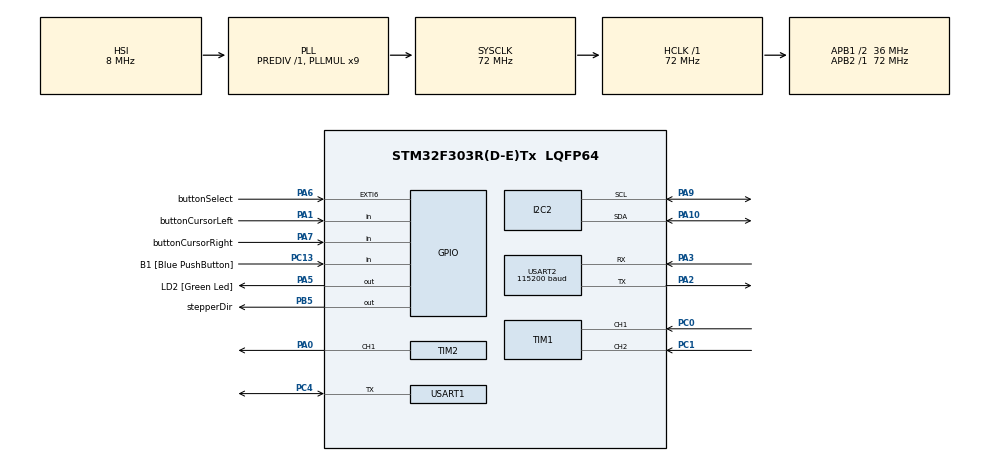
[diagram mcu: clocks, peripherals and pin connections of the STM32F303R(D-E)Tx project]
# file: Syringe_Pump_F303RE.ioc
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Dma.Request0=USART1_RX
Dma.Request1=USART1_TX
Dma.Request2=USART2_TX
Dma.USART1_RX.0.Direction=DMA_PERIPH_TO_MEMORY
Dma.USART1_RX.0.Instance=DMA1_Channel5
Dma.USART1_RX.0.MemDataAlignment=DMA_MDATAALIGN_BYTE
Dma.USART1_RX.0.MemInc=DMA_MINC_ENABLE
Dma.USART1_RX.0.Mode=DMA_NORMAL
Dma.USART1_RX.0.PeriphDataAlignment=DMA_PDATAALIGN_BYTE
Dma.USART1_RX.0.PeriphInc=DMA_PINC_DISABLE
Dma.USART1_RX.0.Priority=DMA_PRIORITY_HIGH
Dma.USART1_TX.1.Direction=DMA_MEMORY_TO_PERIPH
Dma.USART1_TX.1.Instance=DMA1_Channel4
Dma.USART1_TX.1.MemDataAlignment=DMA_MDATAALIGN_BYTE
Dma.USART1_TX.1.MemInc=DMA_MINC_ENABLE
Dma.USART1_TX.1.Mode=DMA_NORMAL
Dma.USART1_TX.1.PeriphDataAlignment=DMA_PDATAALIGN_BYTE
Dma.USART1_TX.1.PeriphInc=DMA_PINC_DISABLE
Dma.USART1_TX.1.Priority=DMA_PRIORITY_HIGH
Dma.USART2_TX.2.Direction=DMA_MEMORY_TO_PERIPH
Dma.USART2_TX.2.Instance=DMA1_Channel7
Dma.USART2_TX.2.MemDataAlignment=DMA_MDATAALIGN_BYTE
Dma.USART2_TX.2.MemInc=DMA_MINC_ENABLE
Dma.USART2_TX.2.Mode=DMA_NORMAL
Dma.USART2_TX.2.PeriphDataAlignment=DMA_PDATAALIGN_BYTE
Dma.USART2_TX.2.PeriphInc=DMA_PINC_DISABLE
Dma.USART2_TX.2.Priority=DMA_PRIORITY_LOW
I2C2.Timing=0x00201D2B
Mcu.Family=STM32F3
Mcu.Name=STM32F303R(D-E)Tx
Mcu.Package=LQFP64
NVIC.DMA1_Channel4_IRQn=true\:5\:0\:true\:false\:true\:false\:true\:true
NVIC.DMA1_Channel5_IRQn=true\:5\:0\:true\:false\:true\:false\:true\:true
NVIC.DMA1_Channel7_IRQn=true\:5\:0\:true\:false\:true\:false\:true\:true
NVIC.EXTI9_5_IRQn=true\:5\:0\:true\:false\:true\:true\:true\:true
NVIC.I2C2_ER_IRQn=true\:5\:0\:true\:false\:true\:true\:true\:true
NVIC.I2C2_EV_IRQn=true\:5\:0\:true\:false\:true\:true\:true\:true
NVIC.PriorityGroup=NVIC_PRIORITYGROUP_4
NVIC.TIM1_UP_TIM16_IRQn=true\:5\:0\:true\:false\:true\:true\:true\:true
NVIC.TIM2_IRQn=true\:1\:0\:true\:false\:true\:true\:true\:true
NVIC.TIM6_DAC_IRQn=true\:15\:0\:false\:false\:true\:false\:true\:true
NVIC.TimeBase=TIM6_DAC_IRQn
NVIC.TimeBaseIP=TIM6
NVIC.USART1_IRQn=true\:5\:0\:true\:false\:true\:true\:true\:true
NVIC.USART2_IRQn=true\:5\:0\:true\:false\:true\:true\:true\:true
PA0.GPIO_PuPd=GPIO_PULLDOWN
PA0.Signal=S_TIM2_CH1_ETR
PA1.GPIO_Label=buttonCursorLeft
PA1.Signal=GPIO_Input
PA10.Mode=I2C
PA10.Signal=I2C2_SDA
PA13.GPIO_Label=TMS
PA13.Mode=Serial_Wire
PA13.Signal=SYS_JTMS-SWDIO
PA14.GPIO_Label=TCK
PA14.Mode=Serial_Wire
PA14.Signal=SYS_JTCK-SWCLK
PA2.GPIO_Mode=GPIO_MODE_AF_PP
PA2.GPIO_ModeDefaultOD=GPIO_MODE_AF_OD
PA2.GPIO_ModeDefaultPP=GPIO_MODE_AF_PP
PA2.GPIO_PuPd=GPIO_NOPULL
PA2.GPIO_Speed=GPIO_SPEED_FREQ_HIGH
PA2.Mode=Asynchronous
PA2.Signal=USART2_TX
PA3.GPIO_Mode=GPIO_MODE_AF_PP
PA3.GPIO_ModeDefaultPP=GPIO_MODE_AF_PP
PA3.GPIO_PuPd=GPIO_NOPULL
PA3.GPIO_Speed=GPIO_SPEED_FREQ_HIGH
PA3.Mode=Asynchronous
PA3.Signal=USART2_RX
PA5.GPIO_Label=LD2 [Green Led]
PA5.GPIO_Mode=GPIO_MODE_OUTPUT_PP
PA5.GPIO_PuPd=GPIO_NOPULL
PA5.GPIO_Speed=GPIO_SPEED_FREQ_LOW
PA5.Signal=GPIO_Output
PA6.GPIO_Label=buttonSelect
PA6.GPIO_ModeDefaultEXTI=GPIO_MODE_IT_FALLING
PA6.Signal=GPXTI6
PA7.GPIO_Label=buttonCursorRight
PA7.Signal=GPIO_Input
PA9.Mode=I2C
PA9.Signal=I2C2_SCL
PB3.GPIO_Label=SWO
PB3.Signal=SYS_JTDO-TRACESWO
PB5.GPIO_Label=stepperDir
PB5.GPIO_PuPd=GPIO_PULLDOWN
PB5.Signal=GPIO_Output
PC0.Signal=S_TIM1_CH1
PC1.Signal=S_TIM1_CH2
PC13.GPIO_Label=B1 [Blue PushButton]
PC13.Signal=GPIO_Input
PC14-OSC32_IN.Mode=LSE-External-Oscillator
PC14-OSC32_IN.Signal=RCC_OSC32_IN
PC15-OSC32_OUT.Mode=LSE-External-Oscillator
PC15-OSC32_OUT.Signal=RCC_OSC32_OUT
PC4.GPIO_PuPd=GPIO_PULLUP
PC4.GPIO_Speed=GPIO_SPEED_FREQ_HIGH
PC4.Mode=Half_duplex(single_wire_mode)
PC4.Signal=USART1_TX
PF0-OSC_IN.Mode=HSE-External-Clock-Source
PF0-OSC_IN.Signal=RCC_OSC_IN
PF1-OSC_OUT.Signal=RCC_OSC_OUT
ProjectManager.HeapSize=0x200
ProjectManager.StackSize=0x400
ProjectManager.TargetToolchain=CMake
RCC.AHBFreq_Value=72000000
RCC.APB1CLKDivider=RCC_HCLK_DIV2
RCC.APB1Freq_Value=36000000
RCC.APB1TimFreq_Value=72000000
RCC.APB2Freq_Value=72000000
RCC.APB2TimFreq_Value=72000000
RCC.CortexFreq_Value=72000000
RCC.HCLKFreq_Value=72000000
RCC.HSE_VALUE=8000000
RCC.HSI_VALUE=8000000
RCC.PLLM=8
RCC.PLLMUL=RCC_PLL_MUL9
RCC.PLLN=336
RCC.PLLP=RCC_PLLP_DIV4
RCC.PLLQ=7
RCC.RCC_PLLsource_Clock_Source_FROM_HSE=RCC_HSE_PREDIV_DIV2
RCC.SYSCLKFreq_VALUE=72000000
RCC.SYSCLKSourceVirtual=RCC_SYSCLKSOURCE_PLLCLK
RCC.USBFreq_Value=72000000
SH.S_TIM1_CH1.0=TIM1_CH1,Encoder_Interface
SH.S_TIM1_CH2.0=TIM1_CH2,Encoder_Interface
SH.S_TIM2_CH1_ETR.0=TIM2_CH1,PWM Generation1 CH1
TIM1.EncoderMode=TIM_ENCODERMODE_TI12
TIM1.IC1Filter=10
TIM2.Channel-PWM\ Generation1\ CH1=TIM_CHANNEL_1
USART1.BaudRate=38400
USART1.VirtualMode-Half_duplex(single_wire_mode)=VM_ASYNC
USART2.BaudRate=115200
USART2.VirtualMode-Asynchronous=VM_ASYNC
VP_SYS_VS_tim6.Mode=TIM6
VP_TIM2_VS_ClockSourceINT.Mode=Internal
board=NUCLEO-F303RE

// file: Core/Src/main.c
/* USER CODE BEGIN Header */
/**
 ******************************************************************************
 * @file           : main.c
 * @brief          : Main program body
 ******************************************************************************
 * @attention
 *
 * Copyright (c) 2026 STMicroelectronics.
 * All rights reserved.
 *
 * This software is licensed under terms that can be found in the LICENSE file
 * in the root directory of this software component.
 * If no LICENSE file comes with this software, it is provided AS-IS.
 *
 ******************************************************************************
 */
/* USER CODE END Header */
#include "main.h"
#include "dma.h"
#include "i2c.h"
#include "tim.h"
#include "usart.h"
#include "gpio.h"

/* USER CODE BEGIN Includes */
#include "FreeRTOS.h"
#include "task.h"
#include "queue.h"
#include "rtos_tasks.h"
#include "stepper.h"
#include "liquidcrystal_i2c.h"
/* USER CODE END Includes */

/* USER CODE BEGIN PV */
// Global stepper motor control structure.
volatile StepperControl_t gStepperControl = {.MotorMode = MOTOR_MODE_NONE,
        .MotorState = MOTOR_STATE_IDLE, };
TaskHandle_t TaskInputHandle = NULL;
TaskHandle_t TaskUartGatekeeperHandle = NULL;
extern volatile SystemState_e gSysState;
extern QueueHandle_t InputQueue;
/* USER CODE END PV */

void SystemClock_Config(void);
/* USER CODE BEGIN PFP */
/* Enforce -O2 optimization even in Debug builds (-O0) to prevent ISR cycle bloat
 * and CPU starvation of lower-priority FreeRTOS tasks (TaskEncoder, TaskInput). */
void HAL_TIM_PeriodElapsedCallback(TIM_HandleTypeDef *htim) __attribute__((optimize("O2")));
/* USER CODE END PFP */

int main(void)
{

  /* MCU Configuration--------------------------------------------------------*/

  /* Reset of all peripherals, Initializes the Flash interface and the Systick. */
  HAL_Init();

  /* Configure the system clock */
  SystemClock_Config();

  /* Initialize all configured peripherals */
  MX_GPIO_Init();
  MX_DMA_Init();
  MX_TIM1_Init();
  MX_TIM2_Init();
  MX_USART2_UART_Init();
  MX_USART1_UART_Init();
  MX_I2C2_Init();
  /* USER CODE BEGIN 2 */
    HAL_TIM_Encoder_Start(&htim1, TIM_CHANNEL_ALL);
    stepper_init((StepperControl_t*) &gStepperControl);
    HD44780_Init(2);
    RtosTasks_Init();

	/*
	 * Create the FreeRTOS tasks:
	 *   InputTask   (prio 3): 50 Hz GPIO/encoder polling → produces input events
	 *   UITask      (prio 2): Event-driven LCD menu state machine
	 *   MotorTask   (prio 4): Kinematics computation and pump monitoring
	 *   EncoderTask (prio 4): I2C AS5600 encoder reading and processing
	 *   UartTask    (prio 4): UART Gatekeeper (TMC2208 & VCP DMA)
	 */
	xTaskCreate(RtosTasks_TaskInput, "InputTask", 128, NULL, 3, &TaskInputHandle);
	xTaskCreate(RtosTasks_TaskUI, "UITask", 512, NULL, 2, NULL);
	xTaskCreate(RtosTasks_TaskMotor, "MotorTask", 512, NULL, 4, NULL);
	xTaskCreate(RtosTasks_TaskEncoder, "EncoderTask", 512, NULL, 4, NULL);
	xTaskCreate(RtosTasks_TaskUartGatekeeper, "UartTask", 256, NULL, 4, &TaskUartGatekeeperHandle);

	vTaskStartScheduler();
  /* USER CODE END 2 */

  /* Infinite loop */
    while (1) {

    }
}

void SystemClock_Config(void)
{
  RCC_OscInitTypeDef RCC_OscInitStruct = {0};
  RCC_ClkInitTypeDef RCC_ClkInitStruct = {0};
  RCC_PeriphCLKInitTypeDef PeriphClkInit = {0};

  /** Initializes the RCC Oscillators according to the specified parameters
  * in the RCC_OscInitTypeDef structure.
  */
  RCC_OscInitStruct.OscillatorType = RCC_OSCILLATORTYPE_HSI;
  RCC_OscInitStruct.HSIState = RCC_HSI_ON;
  RCC_OscInitStruct.HSICalibrationValue = RCC_HSICALIBRATION_DEFAULT;
  RCC_OscInitStruct.PLL.PLLState = RCC_PLL_ON;
  RCC_OscInitStruct.PLL.PLLSource = RCC_PLLSOURCE_HSI;
  RCC_OscInitStruct.PLL.PLLMUL = RCC_PLL_MUL9;
  RCC_OscInitStruct.PLL.PREDIV = RCC_PREDIV_DIV1;
  if (HAL_RCC_OscConfig(&RCC_OscInitStruct) != HAL_OK)
  {
    Error_Handler();
  }

  /** Initializes the CPU, AHB and APB buses clocks
  */
  RCC_ClkInitStruct.ClockType = RCC_CLOCKTYPE_HCLK|RCC_CLOCKTYPE_SYSCLK
                              |RCC_CLOCKTYPE_PCLK1|RCC_CLOCKTYPE_PCLK2;
  RCC_ClkInitStruct.SYSCLKSource = RCC_SYSCLKSOURCE_PLLCLK;
  RCC_ClkInitStruct.AHBCLKDivider = RCC_SYSCLK_DIV1;
  RCC_ClkInitStruct.APB1CLKDivider = RCC_HCLK_DIV2;
  RCC_ClkInitStruct.APB2CLKDivider = RCC_HCLK_DIV1;

  if (HAL_RCC_ClockConfig(&RCC_ClkInitStruct, FLASH_LATENCY_2) != HAL_OK)
  {
    Error_Handler();
  }
  PeriphClkInit.PeriphClockSelection = RCC_PERIPHCLK_USART1|RCC_PERIPHCLK_USART2
                              |RCC_PERIPHCLK_I2C2|RCC_PERIPHCLK_TIM1
                              |RCC_PERIPHCLK_TIM2;
  PeriphClkInit.Usart1ClockSelection = RCC_USART1CLKSOURCE_PCLK2;
  PeriphClkInit.Usart2ClockSelection = RCC_USART2CLKSOURCE_PCLK1;
  PeriphClkInit.I2c2ClockSelection = RCC_I2C2CLKSOURCE_HSI;
  PeriphClkInit.Tim1ClockSelection = RCC_TIM1CLK_HCLK;
  PeriphClkInit.Tim2ClockSelection = RCC_TIM2CLK_HCLK;
  if (HAL_RCCEx_PeriphCLKConfig(&PeriphClkInit) != HAL_OK)
  {
    Error_Handler();
  }
}

/* USER CODE BEGIN 4 */
void HAL_GPIO_EXTI_Callback(uint16_t GPIO_Pin)
{
  if (GPIO_Pin == buttonSelect_Pin)
  {
    if (HAL_GPIO_ReadPin(buttonSelect_GPIO_Port, buttonSelect_Pin) == GPIO_PIN_RESET)
    {
      /* While TaskInput is suspended during pumping, EXTI provides zero-latency pause detection */
      if (gSysState == SYS_PUMPING || gSysState == SYS_PUMPING_CALIBRATION)
      {
        /* Immediately mask EXTI line so contact bounce cannot queue multiple pause events */
        EXTI->IMR &= ~buttonSelect_Pin;

        BaseType_t xHigherPriorityTaskWoken = pdFALSE;

        if (InputQueue != NULL) {
          InputMessage_t msg;
          msg.event = EVENT_BTN_SELECT_PRESS;
          msg.timestamp = xTaskGetTickCountFromISR();
          xQueueSendFromISR(InputQueue, &msg, &xHigherPriorityTaskWoken);
        }

        portYIELD_FROM_ISR(xHigherPriorityTaskWoken);
      }
    }
  }
}
/* USER CODE END 4 */

void HAL_TIM_PeriodElapsedCallback(TIM_HandleTypeDef *htim)
{
  if (htim->Instance == TIM6)
  {
    HAL_IncTick();
  }
  /* USER CODE BEGIN Callback 1 */
    /*
     * ===================================================================
     * TIM2 Stepper Motor State Machine (ISR context)
     *
     * Called once per TIM2 period (one step pulse). Executes the
     * trapezoidal/triangular motion profile via inlined StepperProfile_StepTick.
     * Real-time calculation runs in O(1) time with zero call overhead.
     * ===================================================================
     */

    /* Only process TIM2 interrupts (ignore TIM16 systick, etc.) */
    if (htim->Instance != TIM2) {
        return;
    }

    if (gStepperControl.MotorState == MOTOR_STATE_IDLE) {
        return;
    }

    StepperStepAction_e action = StepperProfile_StepTick(
        &gStepperControl,
        s_curve_norm,
        TIMER_CLOCK,
        PRESCALER
    );

    if (action == STEP_ACTION_STOP_IDLE || action == STEP_ACTION_STOP_PAUSED) {
        HAL_TIM_Base_Stop_IT(&htim2);
        HAL_TIM_PWM_Stop(&htim2, TIM_CHANNEL_1);
    }
    else {
        __HAL_TIM_SET_AUTORELOAD(htim, gStepperControl.ARRCurrent);
        /* ARR/2 compare value maintains a symmetric 50% PWM step pulse duty cycle at all speeds */
        __HAL_TIM_SET_COMPARE(htim, TIM_CHANNEL_1,
                gStepperControl.ARRCurrent / 2);
    }
  /* USER CODE END Callback 1 */
}

void Error_Handler(void)
{
    __disable_irq();
    while (1) {
    }
}
